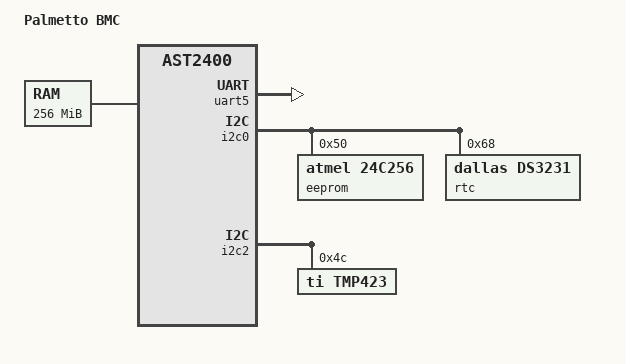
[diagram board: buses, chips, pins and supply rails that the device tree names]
/dts-v1/;

#include "aspeed-g4.dtsi"

/ {
	model = "Palmetto BMC";
	compatible = "tyan,palmetto-bmc", "aspeed,ast2400";

	aliases {
		serial4 = &uart5;
	};

	chosen {
		stdout-path = &uart5;
		bootargs = "console=ttyS4,38400 earlyprintk";
	};

	memory {
		reg = <0x40000000 0x10000000>;
	};
};

&uart5 {
	status = "okay";
};

&i2c0 {
	status = "okay";

	eeprom@50 {
		compatible = "atmel,24c256";
		reg = <0x50>;
		pagesize = <64>;
	};

	rtc@68 {
		compatible = "dallas,ds3231";
		reg = <0x68>;
		// interrupts = <GPIOF0>
	};
};

&i2c2 {
	status = "okay";

	tmp423@4c {
		compatible = "ti,tmp423";
		reg = <0x4c>;
	};
};
